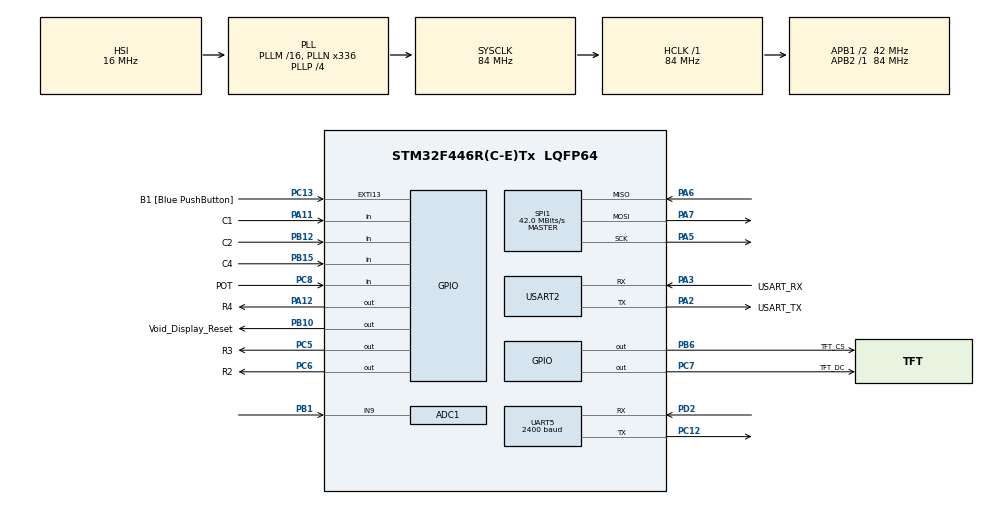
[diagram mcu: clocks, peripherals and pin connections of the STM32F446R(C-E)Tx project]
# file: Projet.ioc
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ADC1.Channel-0\#ChannelRegularConversion=ADC_CHANNEL_9
ADC1.NbrOfConversion=1
ADC1.NbrOfConversionFlag=1
ADC1.Rank-0\#ChannelRegularConversion=1
ADC1.SamplingTime-0\#ChannelRegularConversion=ADC_SAMPLETIME_3CYCLES
ADC1.master=1
Dma.Request0=SPI1_TX
Dma.Request1=UART5_TX
Dma.SPI1_TX.0.Direction=DMA_MEMORY_TO_PERIPH
Dma.SPI1_TX.0.FIFOMode=DMA_FIFOMODE_DISABLE
Dma.SPI1_TX.0.Instance=DMA2_Stream3
Dma.SPI1_TX.0.MemDataAlignment=DMA_MDATAALIGN_BYTE
Dma.SPI1_TX.0.MemInc=DMA_MINC_ENABLE
Dma.SPI1_TX.0.Mode=DMA_NORMAL
Dma.SPI1_TX.0.PeriphDataAlignment=DMA_PDATAALIGN_BYTE
Dma.SPI1_TX.0.PeriphInc=DMA_PINC_DISABLE
Dma.SPI1_TX.0.Priority=DMA_PRIORITY_LOW
Dma.UART5_TX.1.Direction=DMA_MEMORY_TO_PERIPH
Dma.UART5_TX.1.FIFOMode=DMA_FIFOMODE_DISABLE
Dma.UART5_TX.1.Instance=DMA1_Stream7
Dma.UART5_TX.1.MemDataAlignment=DMA_MDATAALIGN_BYTE
Dma.UART5_TX.1.MemInc=DMA_MINC_ENABLE
Dma.UART5_TX.1.Mode=DMA_NORMAL
Dma.UART5_TX.1.PeriphDataAlignment=DMA_PDATAALIGN_BYTE
Dma.UART5_TX.1.PeriphInc=DMA_PINC_DISABLE
Dma.UART5_TX.1.Priority=DMA_PRIORITY_LOW
Mcu.Family=STM32F4
Mcu.Name=STM32F446R(C-E)Tx
Mcu.Package=LQFP64
NVIC.DMA1_Stream7_IRQn=true\:0\:0\:false\:false\:true\:false\:true\:true
NVIC.DMA2_Stream3_IRQn=true\:0\:0\:false\:false\:true\:false\:true\:true
NVIC.PriorityGroup=NVIC_PRIORITYGROUP_0
NVIC.SPI1_IRQn=true\:0\:0\:false\:false\:true\:true\:true\:true
NVIC.TIM2_IRQn=true\:0\:0\:false\:false\:true\:true\:true\:true
NVIC.UART5_IRQn=true\:0\:0\:false\:false\:true\:true\:true\:true
PA11.GPIO_Label=C1
PA11.GPIO_PuPd=GPIO_PULLUP
PA11.Signal=GPIO_Input
PA12.GPIO_Label=R4
PA12.Signal=GPIO_Output
PA13.GPIO_Label=TMS
PA13.Mode=Serial_Wire
PA13.Signal=SYS_JTMS-SWDIO
PA14.GPIO_Label=TCK
PA14.Mode=Serial_Wire
PA14.Signal=SYS_JTCK-SWCLK
PA2.GPIO_Label=USART_TX
PA2.Mode=Asynchronous
PA2.Signal=USART2_TX
PA3.GPIO_Label=USART_RX
PA3.Mode=Asynchronous
PA3.Signal=USART2_RX
PA5.Mode=Full_Duplex_Master
PA5.Signal=SPI1_SCK
PA6.Mode=Full_Duplex_Master
PA6.Signal=SPI1_MISO
PA7.Mode=Full_Duplex_Master
PA7.Signal=SPI1_MOSI
PB1.Signal=ADCx_IN9
PB10.GPIO_Label=Void_Display_Reset
PB10.Signal=GPIO_Output
PB12.GPIO_Label=C2
PB12.GPIO_PuPd=GPIO_PULLUP
PB12.Signal=GPIO_Input
PB15.GPIO_Label=C4
PB15.GPIO_PuPd=GPIO_PULLUP
PB15.Signal=GPIO_Input
PB3.GPIO_Label=SWO
PB3.Signal=SYS_JTDO-SWO
PB6.GPIO_Label=TFT_CS
PB6.Signal=GPIO_Output
PC12.Mode=Asynchronous
PC12.Signal=UART5_TX
PC13.GPIO_Label=B1 [Blue PushButton]
PC13.GPIO_ModeDefaultEXTI=GPIO_MODE_IT_FALLING
PC13.Signal=GPXTI13
PC14-OSC32_IN.Mode=LSE-External-Oscillator
PC14-OSC32_IN.Signal=RCC_OSC32_IN
PC15-OSC32_OUT.Mode=LSE-External-Oscillator
PC15-OSC32_OUT.Signal=RCC_OSC32_OUT
PC5.GPIO_Label=R3
PC5.Signal=GPIO_Output
PC6.GPIO_Label=R2
PC6.Signal=GPIO_Output
PC7.GPIO_Label=TFT_DC
PC7.Signal=GPIO_Output
PC8.GPIO_Label=POT
PC8.Signal=GPIO_Input
PD2.Mode=Asynchronous
PD2.Signal=UART5_RX
PH0-OSC_IN.Mode=HSE-External-Oscillator
PH0-OSC_IN.Signal=RCC_OSC_IN
PH1-OSC_OUT.Mode=HSE-External-Oscillator
PH1-OSC_OUT.Signal=RCC_OSC_OUT
ProjectManager.HeapSize=0x200
ProjectManager.StackSize=0x400
ProjectManager.TargetToolchain=MDK-ARM V5.32
RCC.48MHZClocksFreq_Value=84000000
RCC.AHBFreq_Value=84000000
RCC.APB1CLKDivider=RCC_HCLK_DIV2
RCC.APB1Freq_Value=42000000
RCC.APB1TimFreq_Value=84000000
RCC.APB2Freq_Value=84000000
RCC.APB2TimFreq_Value=84000000
RCC.CortexFreq_Value=84000000
RCC.FLatency-AdvancedSettings=FLASH_LATENCY_2
RCC.HCLKFreq_Value=84000000
RCC.HSE_VALUE=8000000
RCC.HSI_VALUE=16000000
RCC.PLLN=336
RCC.PLLP=RCC_PLLP_DIV4
RCC.SYSCLKFreq_VALUE=84000000
RCC.SYSCLKSource=RCC_SYSCLKSOURCE_PLLCLK
RCC.USBFreq_Value=168000000
RCC.VCOOutputFreq_Value=336000000
SH.ADCx_IN9.0=ADC1_IN9,IN9
SPI1.CalculateBaudRate=42.0 MBits/s
SPI1.Direction=SPI_DIRECTION_2LINES
SPI1.Mode=SPI_MODE_MASTER
SPI1.VirtualType=VM_MASTER
TIM2.Period=9999
TIM2.Prescaler=83
UART5.BaudRate=2400
UART5.VirtualMode=Asynchronous
UART5.WordLength=WORDLENGTH_8B
USART2.VirtualMode=VM_ASYNC
VP_TIM12_VS_ClockSourceINT.Mode=Internal
VP_TIM1_VS_ClockSourceINT.Mode=Internal
VP_TIM2_VS_ClockSourceINT.Mode=Internal
board=NUCLEO-F446RE

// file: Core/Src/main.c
/* USER CODE BEGIN Header */
/**
  ******************************************************************************
  * @file           : main.c
  * @brief          : Main program body
  ******************************************************************************
  * @attention
  *
  * Copyright (c) 2023 STMicroelectronics.
  * All rights reserved.
  *
  * This software is licensed under terms that can be found in the LICENSE file
  * in the root directory of this software component.
  * If no LICENSE file comes with this software, it is provided AS-IS.
  *
  ******************************************************************************
  */
/* USER CODE END Header */
#include "main.h"
#include "adc.h"
#include "dma.h"
#include "spi.h"
#include "tim.h"
#include "usart.h"
#include "gpio.h"

/* USER CODE BEGIN Includes */
#include "stdio.h"
#include "stdlib.h"

#include "ili9341.h"
#include "ili9341_gfx.h"

#include "guitar.h"
/* USER CODE END Includes */

/* USER CODE BEGIN PV */
// Game
int life;
int score;

// Screen
extern ili9341_t *_screen;

// Systick
volatile int frameUp = 1;
int timerFPS = 0;
float fps = 75; 	// 75ms (1 frame par 75ms)

extern volatile int nextNoteUp;
float tempoNextNote = 900;

int full_timer;

// Ultrason
extern volatile float position_us; //TODO

// Autres
uint8_t txdata = 1;
uint8_t rxdata = 1;
extern int POSX[MAX_NOTE + 1];
extern unsigned char voice1[MAX_TIME];
extern int current_time;

/* USER CODE END PV */

void SystemClock_Config(void);

/* USER CODE BEGIN 0 */
#ifndef __GNUC__
#define PUTCHAR_PROTOTYPE int __io_putchar(int ch)
#else
#define PUTCHAR_PROTOTYPE int fputc(int ch, FILE *f)
#endif /* __GNUC__ */

void HAL_SYSTICK_Callback(void) {
	full_timer++;
	timerFPS++;

	if (timerFPS >= fps){
		frameUp = 1;
		timerFPS = 0;
	}
}

void HAL_UART_RxCpltCallBack(UART_HandleTypeDef *huart) {
	position_us = rxdata;
}

void HAL_UART_TxCpltCallBack(UART_HandleTypeDef *huart) {

}

/* USER CODE END 0 */

int main(void)
{

  /* MCU Configuration--------------------------------------------------------*/

  /* Reset of all peripherals, Initializes the Flash interface and the Systick. */
  HAL_Init();

  /* Configure the system clock */
  SystemClock_Config();

  /* Initialize all configured peripherals */
  MX_GPIO_Init();
  MX_DMA_Init();
  MX_SPI1_Init();
  MX_TIM1_Init();
  MX_TIM12_Init();
  MX_USART2_UART_Init();
  MX_UART5_Init();
  MX_ADC1_Init();
  MX_TIM2_Init();
  /* USER CODE BEGIN 2 */

	// Screen
	_screen = ili9341_new(
		&hspi1,
		Void_Display_Reset_GPIO_Port, Void_Display_Reset_Pin,
		TFT_CS_GPIO_Port, TFT_CS_Pin,
		TFT_DC_GPIO_Port, TFT_DC_Pin,
		isoLandscape,
		NULL,  NULL,
		NULL, NULL,
		itsNotSupported,
		itnNormalized);

	float scale = 1750.0/4095.0;
  /* USER CODE END 2 */

  /* Infinite loop */
  while (1)
  {

    /* USER CODE BEGIN 3 */
		initGame();
		el_condor();
		HAL_ADC_Start(&hadc1);
		while(life) {
			while(!frameUp) {
				display_guitar(position_us) ;
				// play the right frequency
			}
			frameUp = 0;
			next_state();
			display_score();

			txdata = voice1[current_time];
//			HAL_Delay(200);
			//position_us += 20;
			//if (position_us > 1600) position_us = 0;
			HAL_UART_Transmit_DMA(&huart5, &txdata, sizeof(txdata));
			HAL_UART_Receive_IT(&huart5, &rxdata, sizeof(rxdata));
			//position_us = POSX[rxdata];

			position_us = 1750 * (POSX[rxdata])/320;

			//printf("Position_us : %.2f\r\n", position_us);
			printf("Rx : %.2f\r\n", (double)POSX[txdata]);
			printf("Tx : %.2f\r\n", (double)POSX[rxdata]);
			HAL_Delay(500);

			display_guitar(position_us);
		}
		gameOver();
  }
  /* USER CODE END 3 */
}

void SystemClock_Config(void)
{
  RCC_OscInitTypeDef RCC_OscInitStruct = {0};
  RCC_ClkInitTypeDef RCC_ClkInitStruct = {0};

  /** Configure the main internal regulator output voltage
  */
  __HAL_RCC_PWR_CLK_ENABLE();
  __HAL_PWR_VOLTAGESCALING_CONFIG(PWR_REGULATOR_VOLTAGE_SCALE3);

  /** Initializes the RCC Oscillators according to the specified parameters
  * in the RCC_OscInitTypeDef structure.
  */
  RCC_OscInitStruct.OscillatorType = RCC_OSCILLATORTYPE_HSI;
  RCC_OscInitStruct.HSIState = RCC_HSI_ON;
  RCC_OscInitStruct.HSICalibrationValue = RCC_HSICALIBRATION_DEFAULT;
  RCC_OscInitStruct.PLL.PLLState = RCC_PLL_ON;
  RCC_OscInitStruct.PLL.PLLSource = RCC_PLLSOURCE_HSI;
  RCC_OscInitStruct.PLL.PLLM = 16;
  RCC_OscInitStruct.PLL.PLLN = 336;
  RCC_OscInitStruct.PLL.PLLP = RCC_PLLP_DIV4;
  RCC_OscInitStruct.PLL.PLLQ = 2;
  RCC_OscInitStruct.PLL.PLLR = 2;
  if (HAL_RCC_OscConfig(&RCC_OscInitStruct) != HAL_OK)
  {
    Error_Handler();
  }

  /** Initializes the CPU, AHB and APB buses clocks
  */
  RCC_ClkInitStruct.ClockType = RCC_CLOCKTYPE_HCLK|RCC_CLOCKTYPE_SYSCLK
                              |RCC_CLOCKTYPE_PCLK1|RCC_CLOCKTYPE_PCLK2;
  RCC_ClkInitStruct.SYSCLKSource = RCC_SYSCLKSOURCE_PLLCLK;
  RCC_ClkInitStruct.AHBCLKDivider = RCC_SYSCLK_DIV1;
  RCC_ClkInitStruct.APB1CLKDivider = RCC_HCLK_DIV2;
  RCC_ClkInitStruct.APB2CLKDivider = RCC_HCLK_DIV1;

  if (HAL_RCC_ClockConfig(&RCC_ClkInitStruct, FLASH_LATENCY_2) != HAL_OK)
  {
    Error_Handler();
  }
}

/* USER CODE BEGIN 4 */
/**
* @brief Retargets the C library printf function to the USART.
* @param None
* @retval None
*/
PUTCHAR_PROTOTYPE
{
	/* Place your implementation of fputc here */
	/* e.g. write a character to the USART2 and Loop until the end
	of transmission */
	HAL_UART_Transmit(&huart2, (uint8_t *)&ch, 1, 0xFFFF);
	return ch;
}

/* USER CODE END 4 */

void Error_Handler(void)
{
  __disable_irq();
  while (1)
  {
  }
}
